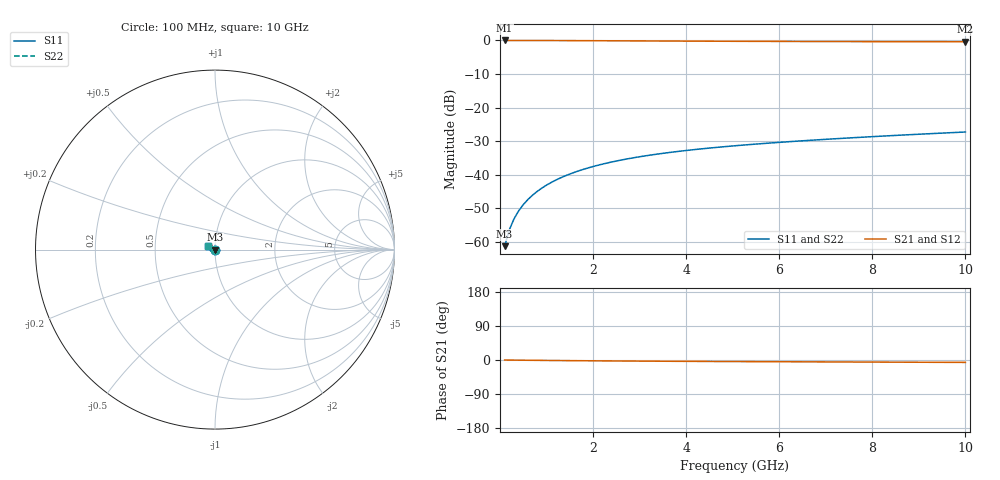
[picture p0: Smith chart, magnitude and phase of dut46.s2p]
! Touchstone file exported from HFSS 2024.1.0
!  File:  C:/UserFiles/LocalFiles/RDL_TSV_Batchsim/temp_TSV1_46_1779371566.aedt
!  Generated:  09:59:11 PM May 21, 2026
!  Design:  TSV1
!  Project:  temp_TSV1_46_1779371566
!  Setup:  Setup1
!  Solution:  Sweep
! Variables:
!  dtsv = 5.66um
!  hbump = 3um
!  htsv = 98.37um
!  lrdl = 252.1521522um
!  p = 40
!  p1 = 44.85um
!  t = 500um
!  trdl = 3um
!  wrdl = 24.89489489um
# GHz S MA R 50.000000
! Terminal data exported
! Port[1] = TSV22_T1
! Port[2] = TSV22_T2
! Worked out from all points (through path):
!   100 points, 100 MHz to 10 GHz, reference 50 ohm
!   highest |S21| = 0.00 dB at 100 MHz (marker M1); lowest = -0.4 dB at 10 GHz (marker M2)
!   lowest |S11| = -61.3 dB at 100 MHz (marker M3), VSWR 1.00, Z = 50 - j0.0716 ohm
!   |S11| at or under -10 dB: start of sweep to end of sweep
!   |S22| runs from -61.3 to -27.3 dB; largest |S21 - S12| = 3.1e-15
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0.1  0.0008615 -56.1  0.9995 -0.1  0.9995 -0.1  0.0008615 -56.1
! Gamma 0 0 0 0
! Port Impedance 50 0 50 0
0.2  0.001502 -74.1  0.9994 -0.2  0.9994 -0.2  0.001502 -74.1
0.3  0.002185 -82.4  0.9992 -0.4  0.9992 -0.4  0.002185 -82.4
0.4  0.002878 -87.7  0.9991 -0.5  0.9991 -0.5  0.002878 -87.7
0.5  0.003572 -91.7  0.9988 -0.6  0.9988 -0.6  0.003572 -91.7
0.6  0.004265 -95.1  0.9986 -0.7  0.9986 -0.7  0.004265 -95.1
0.7  0.004954 -98.0  0.9982 -0.8  0.9982 -0.8  0.004954 -98.0
0.8  0.005638 -100.7  0.9979 -0.9  0.9979 -0.9  0.005638 -100.7
0.9  0.006317 -103.2  0.9975 -1.0  0.9975 -1.0  0.006317 -103.2
1.1  0.007653 -107.9  0.9966 -1.2  0.9966 -1.2  0.007653 -107.9
1.4  0.009597 -114.3  0.995 -1.6  0.995 -1.6  0.009597 -114.3
1.6  0.01085 -118.3  0.9937 -1.8  0.9937 -1.8  0.01085 -118.3
1.8  0.01206 -122.2  0.9924 -1.9  0.9924 -1.9  0.01206 -122.2
2.1  0.0138 -127.8  0.9904 -2.2  0.9904 -2.2  0.0138 -127.8
2.5  0.01598 -134.7  0.9875 -2.5  0.9875 -2.5  0.01598 -134.7
2.9  0.01801 -141.2  0.9847 -2.8  0.9847 -2.8  0.01801 -141.2
3.4  0.02036 -148.7  0.9811 -3.2  0.9811 -3.2  0.02036 -148.7
4.2  0.02374 -159.4  0.976 -3.7  0.976 -3.7  0.02374 -159.4
5.1  0.02716 -169.9  0.9711 -4.1  0.9711 -4.1  0.02716 -169.9
6.7  0.03266 174.7  0.9643 -4.9  0.9643 -4.9  0.03266 174.7
8.4  0.03815 161.8  0.9593 -5.7  0.9593 -5.7  0.03815 161.8
10  0.04325 152.1  0.9559 -6.4  0.9559 -6.4  0.04325 152.1
